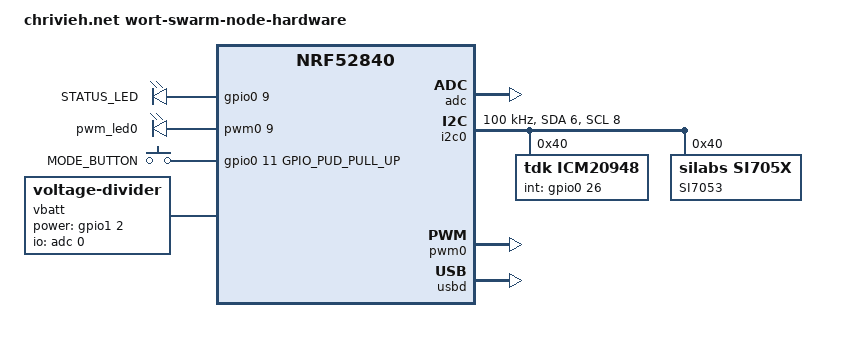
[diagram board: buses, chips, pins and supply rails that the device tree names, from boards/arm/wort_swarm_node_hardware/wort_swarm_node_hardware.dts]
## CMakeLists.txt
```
cmake_minimum_required(VERSION 3.8.2)

set(BOARD_ROOT ${CMAKE_CURRENT_LIST_DIR})
set(BOARD wort_swarm_node_hardware)

include($ENV{ZEPHYR_BASE}/cmake/app/boilerplate.cmake NO_POLICY_SCOPE)
project(peripheral)

add_subdirectory_ifdef(CONFIG_ICM20948 drivers/sensor/icm20948)
add_subdirectory_ifdef(CONFIG_SI705X drivers/sensor/si705x)

target_sources(app PRIVATE
  src/main.c
  
  src/ass.c
  src/bas.c
  src/cts.c
  
  src/node.c
  
  src/battery.c
)

#zephyr_library_include_directories($ENV{ZEPHYR_BASE}/samples/bluetooth)
```

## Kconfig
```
# Copyright (c) 2020 Christian Hirsch
# SPDX-License-Identifier: Apache-2.0

config MEASUREMENTS_SIZE
        int "Number of measurements stored in RAM"
        default 480
        range 0 4094

config SENSE_INTERVAL
        int "Inteval between two measurements in seconds"
        default 60
        range 1 4094

source "Kconfig.zephyr"
rsource "./drivers/sensor/icm20948/Kconfig"
rsource "./drivers/sensor/si705x/Kconfig"
```

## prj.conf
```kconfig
CONFIG_HEAP_MEM_POOL_SIZE=1024

#CONFIG_MEASUREMENTS_SIZE=4032
#CONFIG_SENSE_INTERVAL=900
#CONFIG_SENSE_INTERVAL=60

CONFIG_LOG=n
# POWER SAVING
CONFIG_DEBUG=y
CONFIG_SPEED_OPTIMIZATIONS=y

# GENERAL
CONFIG_REBOOT=y

# DEVICES
CONFIG_ADC=y
CONFIG_GPIO=y
CONFIG_I2C=y

# SENSORS
CONFIG_SENSOR=y
CONFIG_ICM20948=y
CONFIG_ICM20948_I2C_AD0=n
CONFIG_SI705X=y

# BLUETOOTH
CONFIG_BT=y
CONFIG_BT_PERIPHERAL=y
CONFIG_BT_DEVICE_NAME="wort-swarm-node"
CONFIG_BT_CTLR_TX_PWR_PLUS_4=y

## BT PHY CONFIG
##CONFIG_BT_CTLR_PHY_2M=y
#CONFIG_BT_CTLR_PHY_CODED=y
#CONFIG_BT_EXT_ADV=y
#CONFIG_BT_EXT_ADV_LEGACY_SUPPORT=y
## https://github.com/zephyrproject-rtos/zephyr/issues/26200
##CONFIG_BT_LL_NRFXLIB_VS_INCLUDE=y
##CONFIG_BT_LL_NRFXLIB_DEFAULT=y
#CONFIG_BT_LL_NRFXLIB=y
#CONFIG_BT_AUTO_PHY_UPDATE=n
#CONFIG_BT_MAX_CONN=2

# MTU/BUFFER SIZE
CONFIG_BT_RX_BUF_LEN=258
CONFIG_BT_GATT_CLIENT=y
CONFIG_BT_ATT_TX_MAX=10
CONFIG_BT_ATT_PREPARE_COUNT=2
CONFIG_BT_CONN_TX_MAX=10
CONFIG_BT_L2CAP_TX_BUF_COUNT=10
CONFIG_BT_L2CAP_TX_MTU=247
#CONFIG_BT_L2CAP_DYNAMIC_CHANNEL=y
CONFIG_BT_CTLR_RX_BUFFERS=2
CONFIG_BT_CTLR_TX_BUFFERS=10
CONFIG_BT_CTLR_TX_BUFFER_SIZE=251
CONFIG_BT_CTLR_DATA_LENGTH_MAX=251
CONFIG_BT_CTLR_ADVANCED_FEATURES=y
CONFIG_BT_CTLR_XTAL_THRESHOLD=500000
```

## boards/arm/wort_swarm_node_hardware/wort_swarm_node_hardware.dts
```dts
/*
 * Copyright (c) 2017 Linaro Limited
 *
 * SPDX-License-Identifier: Apache-2.0
 */

/dts-v1/;
#include <nordic/nrf52840_qiaa.dtsi>

/ {
	model = "chrivieh.net wort-swarm-node-hardware";
	compatible = "chirsch,wort-swarm-node-hardware";

	chosen {
		zephyr,sram = &sram0;
		zephyr,flash = &flash0;
		zephyr,code-partition = &slot0_partition;
	};

	leds {
		compatible = "gpio-leds";
		led0: led_0 {
		  gpios = <&gpio0 9 0>;
		  label = "STATUS_LED";
	  	};
	};

	pwmleds {
		compatible = "pwm-leds";
		pwm_led0: pwm_led_0 {
			  pwms = <&pwm0 9>;
		};
	};

	gpio_keys {
		compatible = "gpio-keys";
		mode_button: button_0 {
			gpios = <&gpio0 11 GPIO_PUD_PULL_UP>;
			label = "MODE_BUTTON";
		};
	};

	/* These aliases are provided for compatibility with samples */
	aliases {
		led0 = &led0;
		pwm-led0 = &pwm_led0;
	};
	
	vbatt {
		compatible = "voltage-divider";
		io-channels = <&adc 0>;	/* AIN0 P0.02 */
		output-ohms = <1500>;
		full-ohms = <(1500 + 10000)>;
		power-gpios = <&gpio1 2 0>;
	};
};

&adc {
	status = "okay";
};

&gpiote {
	status = "okay";
};

&gpio0 {
	status = "okay";
};

&gpio1 {
	status = "okay";
};

&i2c0 {
        compatible = "nordic,nrf-twi";
        status = "okay";
        sda-pin = <6>;  /* P0.06 */
        scl-pin = <8>;  /* P0.08 */
        clock-frequency = <I2C_BITRATE_STANDARD>;

	    icm20948: icm20948@40 {
			compatible = "tdk,icm20948";
			reg = <0x40>;
			label = "ICM20948";
			int-gpios = <&gpio0 26 0>;	// P0.26
		};
		
		si7053: si7053@40 {
			compatible = "silabs,si705x";
			reg = <0x40>;
			label = "SI7053";
		};
};

&pwm0 {
	status = "okay";
	ch0-pin = <9>;
	ch0-inverted;
};

&flash0 {
	/*
	 * For more information, see:
	 * http://docs.zephyrproject.org/latest/guides/dts/index.html#flash-partitions
	 */
	partitions {
		compatible = "fixed-partitions";
		#address-cells = <1>;
		#size-cells = <1>;

		boot_partition: partition@0 {
			label = "mcuboot";
			reg = <0x000000000 0x0000C000>;
		};
		slot0_partition: partition@c000 {
			label = "image-0";
			reg = <0x0000C000 0x000067000>;
		};
		slot1_partition: partition@73000 {
			label = "image-1";
			reg = <0x00073000 0x000067000>;
		};
		scratch_partition: partition@da000 {
			label = "image-scratch";
			reg = <0x000da000 0x0001e000>;
		};

		/*
		 * The flash starting at 0x000f8000 and ending at
		 * 0x000fffff is reserved for use by the application.
		 */

		/* Storage partition will be used by FCB/NFFS/NVS if enabled. */
		storage_partition: partition@f8000 {
			label = "storage";
			reg = <0x000f8000 0x00008000>;
		};
	};
};

&usbd {
	compatible = "nordic,nrf-usbd";
	status = "okay";
};
```

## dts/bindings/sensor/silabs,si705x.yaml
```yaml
#
# SPDX-License-Identifier: Apache-2.0
#

description: |
    This is a representation of the SI-705X digital temperature sensor
    
compatible: "silabs,si705x"

include: i2c-device.yaml
```

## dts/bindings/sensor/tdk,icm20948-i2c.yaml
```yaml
#
# SPDX-License-Identifier: Apache-2.0
#

description: |
    This is a representation of the ICM-20948 Three Axis High-g I2C/SPI accelerometer
    
compatible: "tdk,icm20948"

include: i2c-device.yaml

properties:
    int-gpios:
      type: phandle-array
      required: false
      description: |
```

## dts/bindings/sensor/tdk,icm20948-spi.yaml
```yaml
#
# SPDX-License-Identifier: Apache-2.0
#

description: |
    This is a representation of the ICM-20948 Three Axis High-g I2C/SPI accelerometer
    
compatible: "tdk,icm20948"

include: spi-device.yaml

properties:
    int-gpios:
      type: phandle-array
      required: false
      description: |
```

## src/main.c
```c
/* main.c - Application main for soil-swarm-node */

#include <zephyr.h>
#include <zephyr/types.h>
#include <logging/log.h>
#include <settings/settings.h>
#include <soc.h>

#include <stddef.h>
#include <string.h>
#include <errno.h>

#include <bluetooth/bluetooth.h>
#include <bluetooth/hci.h>
#include <bluetooth/conn.h>
#include <bluetooth/uuid.h>
#include <bluetooth/gatt.h>

//		BT_LE_ADV_OPT_USE_NAME |     /* adv name */            \

#define BT_LE_ADV_CONN_NAME_ID_CODED BT_LE_ADV_PARAM( \
		BT_LE_ADV_OPT_CONNECTABLE |  /* connectable */         \
		BT_LE_ADV_OPT_USE_IDENTITY | /* use identity */        \
		BT_LE_ADV_OPT_EXT_ADV | /* use extended advertising */ \
		BT_LE_ADV_OPT_CODED,    /* advertise coded phy */      \
		BT_GAP_ADV_SLOW_INT_MIN, \
		BT_GAP_ADV_SLOW_INT_MAX, NULL)

#define BT_LE_ADV_CONN_NAME_ID BT_LE_ADV_PARAM(BT_LE_ADV_OPT_CONNECTABLE | \
		BT_LE_ADV_OPT_USE_NAME | BT_LE_ADV_OPT_USE_IDENTITY, \
		BT_GAP_ADV_SLOW_INT_MIN, \
		BT_GAP_ADV_SLOW_INT_MAX, NULL)

// BT_GAP_ADV_SLOW_INT_MIN = 0x0640 ^= 1s
// BT_GAP_ADV_SLOW_INT_MAX = 0x0780 ^= 1.2s
#define BT_LE_ADV_NCONN_NAME_ID BT_LE_ADV_PARAM(BT_LE_ADV_OPT_USE_NAME | \
		BT_LE_ADV_OPT_USE_IDENTITY, \
		BT_GAP_ADV_SLOW_INT_MIN, \
		BT_GAP_ADV_SLOW_INT_MAX, NULL)

LOG_MODULE_REGISTER(main);

K_THREAD_STACK_DEFINE(disconnect_timeout_stack, 32);
struct k_thread disconnect_timeout_data;
k_tid_t disconnect_timeout_tid;

void disconnect_timeout(void *, void *, void *);

extern volatile struct time_sync remote_ts;

static bool is_client_connected  = false;
struct bt_conn *client_connected = 0;
u32_t time_connected = 0;

u16_t num_connected = 0;

struct bt_le_adv_param *adv_params = BT_LE_ADV_CONN_NAME_ID;

static const struct bt_data ad[] = {
		BT_DATA_BYTES(BT_DATA_FLAGS, BT_LE_AD_NO_BREDR),
		BT_DATA_BYTES(BT_DATA_UUID16_ALL, 0xaa, 0xfe),
		BT_DATA_BYTES(BT_DATA_SVC_DATA16,
				0xaa, 0xfe, /* Eddystone UUID */
				0x10, /* Eddystone-URL frame type */
				0x04, /* Calibrated Tx power at 0m */
				0x00, /* URL Scheme Prefix http://www. */
				//'a','f','a','r','c','l','o','u','d','.','e','u','/')
				'a','f','a','r','c','l','o','u','d','.','a','t','/')
};

void start_advertising() {
	int err = 0, err_cnt = 0;
	do {
		err = bt_le_adv_start(adv_params, ad, ARRAY_SIZE(ad), NULL, 0);
		if(err == 0 || err_cnt > 3)
			break;
		err_cnt++;
		k_sleep(K_MSEC(15));
	} while(err);

	if (err) {
		LOG_ERR("Advertising failed to start (err %d)", err);
		return;
	}
	LOG_INF("Advertising successfully started");
}

static void connected(struct bt_conn *conn, u8_t err)
{
	if (err) {
		LOG_INF("Connection failed (err %u)\n", err);
		return;
	}

	client_connected = conn;
	is_client_connected = true;

	disconnect_timeout_tid = k_thread_create(&disconnect_timeout_data,
			disconnect_timeout_stack,
			K_THREAD_STACK_SIZEOF(disconnect_timeout_stack),
			disconnect_timeout,
			NULL, NULL, NULL, 1, 0, K_MINUTES(5));
	num_connected++;

	LOG_INF("Connected (%u times)", num_connected);
}

static void bt_ready(int err)
{
	if (err) {
		LOG_ERR("Bluetooth init failed (err %d)", err);
		return;
	}
	LOG_INF("Bluetooth initialized");

	if (IS_ENABLED(CONFIG_SETTINGS)) {
		settings_load();
	}

	start_advertising();
}

static void disconnected(struct bt_conn *conn, u8_t reason)
{
	LOG_INF("Disconnected (reason %u)\n", reason);
	is_client_connected = false;

	if (disconnect_timeout_tid)
	{
		k_wakeup(disconnect_timeout_tid);
	}
}

static struct bt_conn_cb conn_callbacks = {
	.connected = connected,
	.disconnected = disconnected,
};

void disconnect_timeout(void *v1, void *v2, void *v3)
{
	/* if connection is still up after 15min, (auto-)disconnect */
	if (is_client_connected == true)
	{
		bt_conn_disconnect(client_connected, BT_HCI_ERR_REMOTE_USER_TERM_CONN);
	}

	disconnect_timeout_tid = 0;
}

void main(void)
{
	int err = 0;

	err = bt_enable(bt_ready);
	if (err != 0) {
		LOG_ERR("Bluetooth init failed (err %d)", err);
		return;
	}
	bt_conn_cb_register(&conn_callbacks);

	while (1) {
		k_sleep(K_FOREVER);
	}
}
```

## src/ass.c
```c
#include "ass.h"

#include "uuid.h"
#include "node.h"

#include <logging/log.h>

#include <bluetooth/gatt.h>
#include <bluetooth/conn.h>

static u8_t *data_buf = NULL;

static u8_t indicate_enabled = 0;
static u16_t mtu_size = 0;

static size_t buffer_size = 0;
static size_t mtu_buffer_size = 0;

struct bt_gatt_indicate_params i_params;

extern struct bt_conn *client_connected;

LOG_MODULE_REGISTER(ASS);

static void sync_ccc_cfg_changed(const struct bt_gatt_attr *attr,
			u16_t value);
static void ass_indicate(void);

/* ASS Declaration */
BT_GATT_SERVICE_DEFINE(ass_svc,
	BT_GATT_PRIMARY_SERVICE(BT_UUID_ASS),

	BT_GATT_CHARACTERISTIC(BT_UUID_ASS_GSC,
			       BT_GATT_CHRC_READ | BT_GATT_CHRC_INDICATE,
			       BT_GATT_PERM_READ, NULL, NULL, NULL),

	BT_GATT_CCC(sync_ccc_cfg_changed, BT_GATT_PERM_READ | BT_GATT_PERM_WRITE),

	BT_GATT_DESCRIPTOR(BT_UUID_ASS_TID, BT_GATT_PERM_NONE, NULL, NULL, 0),
	BT_GATT_DESCRIPTOR(BT_UUID_ASS_BVD, BT_GATT_PERM_NONE, NULL, NULL, 0),
	BT_GATT_DESCRIPTOR(BT_UUID_ASS_ATD, BT_GATT_PERM_NONE, NULL, NULL, 0),
	BT_GATT_DESCRIPTOR(BT_UUID_ASS_ACX, BT_GATT_PERM_NONE, NULL, NULL, 0),
	BT_GATT_DESCRIPTOR(BT_UUID_ASS_ACY, BT_GATT_PERM_NONE, NULL, NULL, 0),
	BT_GATT_DESCRIPTOR(BT_UUID_ASS_ACZ, BT_GATT_PERM_NONE, NULL, NULL, 0),
);

static void indicate_cb(struct bt_conn *conn, const struct bt_gatt_attr *attr,
			u8_t err)
{
	LOG_INF("Indication %s\n", err != 0U ? "fail" : "success");
	node_buf_get_finish(mtu_buffer_size);
	ass_indicate();
}

static void sync_ccc_cfg_changed(const struct bt_gatt_attr *attr,
				 u16_t value)
{
	indicate_enabled = (value == BT_GATT_CCC_INDICATE) ? 1 : 0;

	LOG_INF("sync_ccc_cfg_changed to %u", value);

	if (indicate_enabled)
	{
		mtu_size = bt_gatt_get_mtu(client_connected);
		LOG_INF("mtu size = %u", mtu_size);

		data_buf = (u8_t *)k_malloc(mtu_size);

		if(data_buf == 0)
		{
			LOG_ERR("error allocating %u bytes of memory", mtu_size);
			return;
		}

		i_params.attr = &ass_svc.attrs[2];
		i_params.data = data_buf;
		i_params.func = indicate_cb;

		buffer_size = node_buf_get_elem_size();
		mtu_buffer_size = (mtu_size - 1) / buffer_size;

		ass_indicate();
	}
	else {
		k_free(data_buf);
		data_buf = 0;
	}
}

static void ass_indicate(void)
{
	if(!indicate_enabled)
		return;

	LOG_INF("send indication");

	data_buf[0] = (u8_t) node_buf_cpy_data((void *)&data_buf[1],
			mtu_buffer_size);

	i_params.len  = sizeof(data_buf[0]) + data_buf[0] * buffer_size;
	if (data_buf[0] == 0) {
		i_params.func = NULL;
	}

	int err = bt_gatt_indicate(NULL, &i_params);
	if (err != 0) {
		LOG_ERR("error sending indication: %i", err);
	}
}
```

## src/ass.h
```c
#ifndef ASS_H_
#define ASS_H_

#ifdef __cplusplus
extern "C" {
#endif

#ifdef __cplusplus
}
#endif

#endif /* ASS_H_ */
```

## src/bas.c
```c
/** @file
 *  @brief BAS Service sample
 */

#include <zephyr.h>

#include <stddef.h>
#include <string.h>
#include <errno.h>

#include <bluetooth/bluetooth.h>
#include <bluetooth/hci.h>
#include <bluetooth/conn.h>
#include <bluetooth/uuid.h>
#include <bluetooth/gatt.h>

#include "battery.h"

uint8_t   bas_notify_enabled;
static uint16_t battery_lvl;

static void blvl_ccc_cfg_changed(const struct bt_gatt_attr *attr,
				 uint16_t value)
{
	bas_notify_enabled = (value == BT_GATT_CCC_NOTIFY) ? 1 : 0;
}

static ssize_t read_blvl(struct bt_conn *conn, const struct bt_gatt_attr *attr,
			 void *buf, uint16_t len, uint16_t offset)
{
	uint16_t value_pptt = battery_level_pptt(battery_sample());
	uint8_t value = (uint8_t)(value_pptt / 100);

	return bt_gatt_attr_read(conn, attr, buf, len, offset, &value,
			sizeof(value));
}

/* Battery Service Declaration */
BT_GATT_SERVICE_DEFINE(bas_svc,
	BT_GATT_PRIMARY_SERVICE(BT_UUID_BAS),
	BT_GATT_CHARACTERISTIC(BT_UUID_BAS_BATTERY_LEVEL,
			       BT_GATT_CHRC_READ | BT_GATT_CHRC_NOTIFY,
			       BT_GATT_PERM_READ, read_blvl, NULL, &battery_lvl),
	BT_GATT_CCC(blvl_ccc_cfg_changed, BT_GATT_PERM_READ | BT_GATT_PERM_WRITE),
);

void bas_init(void)
{
	//bt_gatt_service_register(&bas_svc);
}

int bas_notify(uint16_t _battery_lvl)
{
	battery_lvl = _battery_lvl;

	if (!bas_notify_enabled) {
		return 0;
	}

	return bt_gatt_notify(NULL, &bas_svc.attrs[1], &battery_lvl, sizeof(uint16_t));
}
```

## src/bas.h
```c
/** @file
 *  @brief BAS Service sample
 */

#include <stddef.h>

#ifdef __cplusplus
extern "C" {
#endif

void bas_init(void);
int  bas_notify(uint16_t _battery_lvl);

#ifdef __cplusplus
}
#endif
```

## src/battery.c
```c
#include "battery.h"

#include <stdio.h>
#include <stdlib.h>

#include <zephyr.h>
#include <init.h>
#include <drivers/gpio.h>
#include <drivers/adc.h>
#include <drivers/sensor.h>
#include <logging/log.h>

#define VBATT DT_PATH(vbatt)

#define BATT_CHRG_EN_PORT	DT_GPIO_LABEL(VBATT, power_gpios)
#define BATT_CHRG_EN_PIN	DT_GPIO_PIN(VBATT, power_gpios)

LOG_MODULE_REGISTER(BATTERY, CONFIG_ADC_LOG_LEVEL);

#define VBATT DT_PATH(vbatt)

static struct device *chrg_en_port;
static u8_t chrg_enabled;

/* This board uses a divider that reduces max voltage to
 * reference voltage (600 mV).
 */
#define BATTERY_ADC_GAIN ADC_GAIN_1

struct io_channel_config {
	const char *label;
	u8_t channel;
};

struct gpio_channel_config {
	const char *label;
	u8_t pin;
	u8_t flags;
};

struct divider_config {
	const struct io_channel_config io_channel;
	const struct gpio_channel_config power_gpios;
	const u32_t output_ohm;
	const u32_t full_ohm;
};

/* https://blog.ampow.com/lipo-voltage-chart/
 */
static const struct battery_level_point lipo_37[] = {
	{ 10000, 4200 },
	{  9500, 4150 },
	{  9000, 4110 },
	{  8500, 4080 },
	{  8000, 4020 },
	{  7500, 3980 },
	{  7000, 3950 },
	{  6500, 3910 },
	{  6000, 3870 },
	{  5500, 3850 },
	{  5000, 3840 },
	{  4500, 3820 },
	{  4000, 3800 },
	{  3500, 3790 },
	{  3000, 3770 },
	{  2500, 3750 },
	{  2000, 3730 },
	{  1500, 3710 },
	{  1000, 3690 },
	{   500, 3610 },
	{     0, 3270 },
};

static const struct divider_config divider_config = {
#if DT_NODE_HAS_STATUS(VBATT, okay)
	.io_channel = {
		DT_IO_CHANNELS_LABEL(VBATT),
		DT_IO_CHANNELS_INPUT(VBATT),
	},
#if DT_NODE_HAS_PROP(VBATT, power_gpios)
	.power_gpios = {
		DT_GPIO_LABEL(VBATT, power_gpios),
		DT_GPIO_PIN(VBATT, power_gpios),
		DT_GPIO_FLAGS(VBATT, power_gpios),
	},
#endif
	.output_ohm = DT_PROP(VBATT, output_ohms),
	.full_ohm = DT_PROP(VBATT, full_ohms),
#else /* /vbatt exists */
	.io_channel = {
		DT_LABEL(DT_ALIAS(adc_0)),
	},
#endif /* /vbatt exists */
	/*  * /
	.io_channel = DT_VOLTAGE_DIVIDER_VBATT_IO_CHANNELS,
#ifdef DT_VOLTAGE_DIVIDER_VBATT_POWER_GPIOS
	.power_gpios = DT_VOLTAGE_DIVIDER_VBATT_POWER_GPIOS,
#endif
	.output_ohm = DT_VOLTAGE_DIVIDER_VBATT_OUTPUT_OHMS,
	.full_ohm = DT_VOLTAGE_DIVIDER_VBATT_FULL_OHMS,
	*/
};

struct divider_data {
	struct device *adc;
	struct device *gpio;
	struct adc_channel_cfg adc_cfg;
	struct adc_sequence adc_seq;
	s16_t raw;
};
static struct divider_data divider_data;

static int divider_setup(void)
{
	const struct divider_config *cfg = &divider_config;
	const struct io_channel_config *iocp = &cfg->io_channel;
	const struct gpio_channel_config *gcp = &cfg->power_gpios;
	struct divider_data *ddp = &divider_data;
	struct adc_sequence *asp = &ddp->adc_seq;
	struct adc_channel_cfg *accp = &ddp->adc_cfg;
	int rc;

	ddp->adc = device_get_binding(iocp->label);
	if (ddp->adc == NULL) {
		LOG_ERR("Failed to get ADC %s", iocp->label);
		return -ENOENT;
	}

	if (gcp->label) {
		ddp->gpio = device_get_binding(gcp->label);
		if (ddp->gpio == NULL) {
			LOG_ERR("Failed to get GPIO %s", gcp->label);
			return -ENOENT;
		}
		rc = gpio_pin_configure(ddp->gpio, gcp->pin,
					GPIO_OUTPUT_INACTIVE | gcp->flags);
		if (rc != 0) {
			LOG_ERR("Failed to control feed %s.%u: %d",
				gcp->label, gcp->pin, rc);
			return rc;
		}
	}

	*asp = (struct adc_sequence){
		.channels = BIT(0),
		.buffer = &ddp->raw,
		.buffer_size = sizeof(ddp->raw),
		.oversampling = 4,
		.calibrate = true,
	};

#ifdef CONFIG_ADC_NRFX_SAADC
	*accp = (struct adc_channel_cfg){
		.gain = BATTERY_ADC_GAIN,
		.reference = ADC_REF_INTERNAL,
		.acquisition_time = ADC_ACQ_TIME(ADC_ACQ_TIME_MICROSECONDS, 40),
		.input_positive = SAADC_CH_PSELP_PSELP_AnalogInput0 + iocp->channel,
	};

	asp->resolution = 14;
#else /* CONFIG_ADC_var */
#error Unsupported ADC
#endif /* CONFIG_ADC_var */

	rc = adc_channel_setup(ddp->adc, accp);
	LOG_INF("Setup AIN%u got %d", iocp->channel, rc);

	return rc;
}

static bool battery_ok;

static int battery_setup(struct device *arg)
{
	int rc = divider_setup();

	battery_ok = (rc == 0);
	LOG_INF("Battery setup: %d %d", rc, battery_ok);

	/* LDO out */
	chrg_en_port = device_get_binding(BATT_CHRG_EN_PORT);
	if (!chrg_en_port) {
		LOG_ERR("Failed to initialize battery charge enable port");
		return -ENODEV;
	}

	battery_charge_enable();

	return rc;
}

SYS_INIT(battery_setup, APPLICATION, CONFIG_APPLICATION_INIT_PRIORITY);

int battery_measure_enable(bool enable)
{
	int rc = -ENOENT;

	if (battery_ok) {
		const struct divider_data *ddp = &divider_data;
		const struct gpio_channel_config *gcp = &divider_config.power_gpios;

		rc = 0;
		if (ddp->gpio) {
			rc = gpio_pin_set(ddp->gpio, gcp->pin, enable);
		}
	}
	return rc;
}

s16_t battery_sample(void)
{
	battery_measure_enable(true);

	int rc = -ENOENT;

	if (battery_ok) {
		struct divider_data *ddp = &divider_data;
		const struct divider_config *dcp = &divider_config;
		struct adc_sequence *sp = &ddp->adc_seq;

		rc = adc_read(ddp->adc, sp);
		sp->calibrate = false;
		if (rc == 0) {
			s32_t val = ddp->raw;

			adc_raw_to_millivolts(adc_ref_internal(ddp->adc),
					      ddp->adc_cfg.gain,
					      sp->resolution,
					      &val);
			rc = val * (u64_t)dcp->full_ohm / dcp->output_ohm;
			LOG_DBG("raw %u ~ %u mV => %d mV\n",
				ddp->raw, val, rc);
		}
	}

	battery_measure_enable(false);

	return rc;
}

u16_t battery_level_pptt(unsigned int batt_mV)
{
	const struct battery_level_point *pb = lipo_37;

	if (batt_mV >= pb->lvl_mV) {
		/* Measured voltage above highest point, cap at maximum. */
		return pb->lvl_pptt;
	}
	/* Go down to the last point at or below the measured voltage. */
	while ((pb->lvl_pptt > 0)
	       && (batt_mV < pb->lvl_mV)) {
		++pb;
	}
	if (batt_mV < pb->lvl_mV) {
		/* Below lowest point, cap at minimum */
		return pb->lvl_pptt;
	}

	/* Linear interpolation between below and above points. */
	const struct battery_level_point *pa = pb - 1;

	return pb->lvl_pptt
	       + ((pa->lvl_pptt - pb->lvl_pptt)
		  * (batt_mV - pb->lvl_mV)
		  / (pa->lvl_mV - pb->lvl_mV));
}

void battery_charge_enable(void)
{
	gpio_pin_configure(chrg_en_port, BATT_CHRG_EN_PIN, GPIO_INPUT);
	chrg_enabled = 1;

}

void battery_charge_disable(void)
{
	gpio_pin_configure(chrg_en_port, BATT_CHRG_EN_PIN, GPIO_OUTPUT);
	gpio_pin_set(chrg_en_port, BATT_CHRG_EN_PIN, 0);
	chrg_enabled = 0;
}

u8_t battery_charge_is_enabled(void)
{
	return chrg_enabled;
}
```

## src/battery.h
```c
#include <zephyr.h>

/*
 * Copyright (c) 2018-2019 Peter Bigot Consulting, LLC
 *
 * SPDX-License-Identifier: Apache-2.0
 */

#ifndef APPLICATION_BATTERY_H_
#define APPLICATION_BATTERY_H_

/** Enable or disable measurement of the battery voltage.
 *
 * @param enable true to enable, false to disable
 *
 * @return zero on success, or a negative error code.
 */
int battery_measure_enable(bool enable);

/** Measure the battery voltage.
 *
 * @return the battery voltage in millivolts, or a negative error
 * code.
 */
s16_t battery_sample(void);

/** A point in a battery discharge curve sequence.
 *
 * A discharge curve is defined as a sequence of these points, where
 * the first point has #lvl_pptt set to 10000 and the last point has
 * #lvl_pptt set to zero.  Both #lvl_pptt and #lvl_mV should be
 * monotonic decreasing within the sequence.
 */
struct battery_level_point {
	/** Remaining life at #lvl_mV. */
	u16_t lvl_pptt;

	/** Battery voltage at #lvl_pptt remaining life. */
	u16_t lvl_mV;
};

/** Calculate the estimated battery level based on a measured voltage.
 *
 * @param batt_mV a measured battery voltage level.
 *
 * @param curve the discharge curve for the type of battery installed
 * on the system.
 *
 * @return the estimated remaining capacity in parts per ten
 * thousand.
 */
u16_t battery_level_pptt(unsigned int batt_mV);

void battery_charge_enable(void);
void battery_charge_disable(void);
u8_t battery_charge_is_enabled(void);

#endif /* APPLICATION_BATTERY_H_ */
```

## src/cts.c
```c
#include <zephyr.h>
#include <zephyr/types.h>
#include <stddef.h>
#include <string.h>
#include <time.h>
#include <errno.h>

#include <sys/byteorder.h>

#include <bluetooth/bluetooth.h>
#include <bluetooth/hci.h>
#include <bluetooth/conn.h>
#include <bluetooth/uuid.h>
#include <bluetooth/gatt.h>

#include "cts.h"
#include "node.h"

#include <drivers/counter.h>

static  u8_t cts_exact_time_256[10];
static  u8_t cts_update;

s64_t cts_uptime_synced_ms = 0;
u32_t cts_uptime_synced_s  = 0;
u32_t cts_ref_unix_sec     = 0;

static u8_t counting = 0;

static ssize_t read_cts(struct bt_conn *conn, const struct bt_gatt_attr *attr,
		void *buf, u16_t len, u16_t offset);
static ssize_t write_cts(struct bt_conn *conn, const struct bt_gatt_attr *attr,
		const void *buf, u16_t len, u16_t offset,
		u8_t flags);

/* Battery Service Declaration */
BT_GATT_SERVICE_DEFINE(cts_svc,
		BT_GATT_PRIMARY_SERVICE(BT_UUID_CTS),
		BT_GATT_CHARACTERISTIC(BT_UUID_CTS_CURRENT_TIME,
				BT_GATT_CHRC_READ | BT_GATT_CHRC_WRITE,
				BT_GATT_PERM_READ | BT_GATT_PERM_WRITE,
				read_cts, write_cts, cts_exact_time_256),
				BT_GATT_CCC(NULL, BT_GATT_PERM_NONE),
);

/* no leap seconds! */
static u32_t exact_time_256_to_unix_sec(u8_t *ct)
{
	u32_t year = (u32_t)sys_le16_to_cpu(*(u16_t *)ct);

	u32_t time_sec = (year - 1) / 4;
	time_sec   = (time_sec - 492) * 24 * 60 * 60;		// leap year days
	time_sec  += (year - 1970) * 365 * 24 * 60 * 60;	//without leap year

	for(u8_t i=1; i<ct[2]; i++)
	{
		switch(i) {
		case 2:
			time_sec += 28 * 24 * 60 * 60;
			if(year % 4 == 0)
			{
				time_sec += 24 * 60 * 60;
			}
			break;
		case 4:
		case 6:
		case 9:
		case 11:
			time_sec += 30 * 24 * 60 * 60;
			break;
		default:
			time_sec += 31 * 24 * 60 * 60;
			break;
		}
	}

	time_sec += (ct[3]-1) * 24 * 60 * 60;	// day of month
	time_sec += (ct[4]) * 60 * 60;			// hours
	time_sec += (ct[5]) * 60;				// minutes
	time_sec += (ct[6]);					// seconds

	return time_sec;
}

static void unix_sec_to_exact_time_256(u32_t unix_sec, u8_t *et256)
{
	u32_t tmp = 0;

	/* seconds */
	et256[6] =  unix_sec % 60;

	/* minutes */
	et256[5] = (unix_sec / 60) % 60;

	/* hours */
	et256[4] = (unix_sec / 3600) % 24;

	/* year */
	tmp  = (unix_sec / 3600 / 24) * 100;
	tmp /= 36525;
	tmp += 1970;
	memcpy(&et256[0], &tmp, sizeof(tmp));

	/* day of month */
	tmp  = (u32_t) *(u16_t *)et256 - 1970;
	tmp *= 36525;
	tmp += 50;
	tmp /= 100;
	tmp  = (unix_sec / 3600 / 24) - tmp + 1;

	for(et256[2] = 1; et256[2] < 13 ; et256[2]++)
	{
		u8_t days;
		switch(et256[2])
		{
		case 2:
			days = 28;
			break;
		case 4:
		case 6:
		case 9:
		case 11:
			days = 30;
			break;
		default:
			days = 31;
			break;
		}
		if (tmp < days)
			break;
		tmp -= days;
	}

	et256[3] = (u8_t) tmp;
	if (et256[2] < 3 && (*(u16_t *)et256 - 1970) % 4 == 2) {
		et256[3]++;
	}
}

static ssize_t read_cts(struct bt_conn *conn, const struct bt_gatt_attr *attr,
		void *buf, u16_t len, u16_t offset)
{
	u8_t et256[10] = { 0 };

	s64_t now  = (k_uptime_get() - cts_uptime_synced_ms) / 1000;

	u32_t now32 = (u32_t) now;
	now32 += cts_ref_unix_sec;

	unix_sec_to_exact_time_256(now32, et256);

	int err = bt_gatt_attr_read(conn, attr, buf, len, offset, et256,
			sizeof(et256));

	return err;
}

static ssize_t write_cts(struct bt_conn *conn, const struct bt_gatt_attr *attr,
		const void *buf, u16_t len, u16_t offset,
		u8_t flags)
{
	s64_t now = k_uptime_get();

	u8_t *value = attr->user_data;

	if (offset + len > sizeof(cts_exact_time_256)) {
		return BT_GATT_ERR(BT_ATT_ERR_INVALID_OFFSET);
	}

	memcpy(value + offset, buf, len);

	cts_update = 1U;
	cts_uptime_synced_ms = now;
	now /= 1000;
	cts_uptime_synced_s = (u32_t) now;
	cts_ref_unix_sec = exact_time_256_to_unix_sec(cts_exact_time_256);

	if (counting == 1) {
		// clock stretching?!

	}

	now  = cts_ref_unix_sec % CONFIG_SENSE_INTERVAL;
	now  = 1000 * now + (cts_uptime_synced_ms % 1000);

	node_start_sensing((CONFIG_SENSE_INTERVAL*1000) - now);
	counting = 1;

	return len;
}
```

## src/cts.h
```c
#ifndef CTS_H_
#define CTS_H_

#ifdef __cplusplus
extern "C" {
#endif

void cts_init(void);
int  cts_notify(u32_t _timestamp);

#ifdef __cplusplus
}
#endif

#endif /* CTS_H_ */
```

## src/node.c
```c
#include "node.h"

#include <zephyr.h>
#include <init.h>
#include <logging/log.h>
#include <device.h>

#include <kernel.h>

#include <drivers/sensor.h>

#include "battery.h"

#define SENSE_INTERVAL CONFIG_SENSE_INTERVAL
#define MEASUREMENTS_SIZE CONFIG_MEASUREMENTS_SIZE

struct measurement measurements[MEASUREMENTS_SIZE];

s16_t buf_start = 0;
s16_t buf_end   = 0;
u32_t sense_interval_mult = 1;

extern u32_t cts_uptime_synced_s;
extern u32_t cts_ref_unix_sec;

K_SEM_DEFINE(measurements_sem, 1, 1);
K_SEM_DEFINE(loop_guard, 1, 1);

static void node_loop(struct k_timer *timer);

K_THREAD_STACK_DEFINE(node_loop_worker_stack_area, 1024);
struct k_thread node_loop_worker_data;
k_tid_t node_loop_worker_tid;

static void node_loop_worker(void *, void *, void *);

LOG_MODULE_REGISTER(NODE);

K_TIMER_DEFINE(loop_timer, node_loop, NULL);

static int node_initialize(struct device *arg)
{
#ifdef CONFIG_DEBUG
	k_timer_start(&loop_timer, K_SECONDS(SENSE_INTERVAL), K_SECONDS(SENSE_INTERVAL));
#endif

	return 0;
}

void node_start_sensing(s32_t delay)
{
	k_timer_start(&loop_timer, K_MSEC(delay), K_SECONDS(SENSE_INTERVAL));
}

static void node_loop(struct k_timer *timer)
{
	if (k_sem_take(&loop_guard, K_NO_WAIT) != 0)
		return;

	node_loop_worker_tid = k_thread_create(&node_loop_worker_data, node_loop_worker_stack_area,
			K_THREAD_STACK_SIZEOF(node_loop_worker_stack_area),
			node_loop_worker,
			NULL, NULL, NULL,
			5, 0, K_NO_WAIT);
}

static void node_loop_worker(void *p1, void *p2, void *p3)
{
	static u8_t buf_full = 0;

	LOG_INF("enter loop %x %x", buf_start, buf_end);

	struct device *icm20948;
	struct sensor_value acc_sample[3], gyro_sample[3], mag_sample[3];

	struct device *si705x;
	struct sensor_value temp_sample;

	/* measure battery */
	s16_t batt_mV = battery_sample();
	if (batt_mV < 3700) {
		battery_charge_enable();
	} else if (batt_mV > 4000) {
		battery_charge_disable();
	}

	/* measure temperature */
	si705x = device_get_binding(DT_LABEL(DT_INST(0, silabs_si705x)));
	sensor_sample_fetch_chan(si705x, SENSOR_CHAN_AMBIENT_TEMP);
	sensor_channel_get(si705x, SENSOR_CHAN_AMBIENT_TEMP, &temp_sample);

	/* measure acceleration */
	icm20948 = device_get_binding(DT_LABEL(DT_INST(0, tdk_icm20948)));
	sensor_sample_fetch_chan(icm20948, SENSOR_CHAN_ACCEL_XYZ);
	//sensor_channel_get(icm20948, SENSOR_CHAN_ACCEL_XYZ, acc_sample);
	//sensor_channel_get(icm20948, SENSOR_CHAN_GYRO_XYZ, gyro_sample);

	s64_t ts = k_uptime_get();
	ts /= 1000;

	/* save to buffer */

	if (buf_full) {
		k_sem_take(&measurements_sem, K_FOREVER);
		for (s16_t i = 0; i < MEASUREMENTS_SIZE / 2; i++) {
			s16_t buf_dst = (buf_start + i) % MEASUREMENTS_SIZE;
			s16_t buf_src = (buf_start + i * 2) % MEASUREMENTS_SIZE;
			measurements[buf_dst].timestamp   = measurements[buf_src].timestamp;
			measurements[buf_dst].battery     = measurements[buf_src].battery;
			measurements[buf_dst].temperature = measurements[buf_src].temperature;

			measurements[buf_dst].acc[0] = measurements[buf_src].acc[0];
			measurements[buf_dst].acc[1] = measurements[buf_src].acc[1];
			measurements[buf_dst].acc[2] = measurements[buf_src].acc[2];
		}
		buf_end = (buf_start + MEASUREMENTS_SIZE / 2 + 1) % MEASUREMENTS_SIZE;
		k_sem_give(&measurements_sem);
		sense_interval_mult *= 2;
		buf_full = 0;
	}

	k_sem_take(&measurements_sem, K_FOREVER);
	measurements[buf_end].timestamp		= (u32_t)ts;
	measurements[buf_end].battery		= (u16_t) batt_mV / 10;
	measurements[buf_end].temperature	= (u16_t)(temp_sample.val1 * 100) + (u16_t)(temp_sample.val2 / 10000);
	measurements[buf_end].acc[0]		= (s16_t) 0; //(acc_sample[0].val1 * 100) + (s16_t)(acc_sample[0].val2 / 10000);
	measurements[buf_end].acc[1]		= (s16_t) 1; //(acc_sample[1].val1 * 100) + (s16_t)(acc_sample[1].val2 / 10000);
	measurements[buf_end].acc[2]		= (s16_t) 2; //(acc_sample[2].val1 * 100) + (s16_t)(acc_sample[2].val2 / 10000);

	LOG_INF("Timestamp:   %u", measurements[buf_end].timestamp);
	LOG_INF("Battery:     %3u.%02u V", measurements[buf_end].battery / 100,
			measurements[buf_end].battery % 100);
	LOG_INF("Temperature: %3u.%02u V", measurements[buf_end].temperature / 100,
				measurements[buf_end].temperature % 100);
	LOG_INF("Acceleration X: %3i.%02u Gauss", measurements[buf_end].acc[0] / 100,
			measurements[buf_end].acc[0] % 100);

	buf_end = (buf_end + 1) % MEASUREMENTS_SIZE;
	k_sem_give(&measurements_sem);

	buf_full = (buf_end == buf_start);

	k_sem_give(&loop_guard);
}

size_t node_buf_get_elem_size(void)
{
	struct measurement *meas = measurements;
	return sizeof(meas->timestamp)
			+ sizeof(meas->battery)
			+ sizeof(meas->temperature)
			+ sizeof(meas->acc);
}

size_t node_buf_cpy_data(void *dst, size_t cnt)
{
	size_t i;
	u8_t *bdst = (u8_t *)dst;

	struct measurement *meas;

	k_sem_take(&measurements_sem, K_FOREVER);
	for (i = 0; i < cnt; i++)
	{
		if (((buf_start + i) % MEASUREMENTS_SIZE) == buf_end)
			break;

		meas = &measurements[buf_start + i];

		u32_t timestamp = meas->timestamp
				- cts_uptime_synced_s
				+ cts_ref_unix_sec;

		memcpy(bdst, &timestamp, sizeof(timestamp));
		bdst = bdst + sizeof(meas->timestamp);

		memcpy(bdst, &meas->battery, sizeof(meas->battery));
		bdst = bdst + sizeof(meas->battery);

		memcpy(bdst, &meas->temperature, sizeof(meas->temperature));
		bdst = bdst + sizeof(meas->temperature);

		memcpy(bdst, meas->acc, sizeof(meas->acc));
		bdst = bdst + sizeof(meas->acc);
	}
	k_sem_give(&measurements_sem);

	return i;
}

u8_t node_buf_get_finish(size_t cnt)
{
	for(size_t i = 0; i < cnt; i++)
	{
		buf_start = (buf_start + 1) % MEASUREMENTS_SIZE;
		if (buf_start == buf_end)
			return 0;
	}

	LOG_INF("buf_start = %u", buf_start);

	return 1;
}

SYS_INIT(node_initialize, APPLICATION, CONFIG_APPLICATION_INIT_PRIORITY);
```

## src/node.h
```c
#ifndef NODE_H_
#define NODE_H_

#include <zephyr/types.h>
#include <stddef.h>

#ifdef __cplusplus
extern "C" {
#endif

struct measurement {
	u32_t timestamp;
	u16_t battery;
	s16_t temperature;
	s16_t acc[3];
	s16_t gyro[3];
	s16_t mag[3];
};

void node_start_sensing(s32_t delay);

size_t node_buf_get_elem_size(void);
size_t node_buf_cpy_data(void *dst, size_t cnt);
u8_t   node_buf_get_finish(size_t cnt);

#ifdef __cplusplus
}
#endif

#endif /* NODE_H_ */
```

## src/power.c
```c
/*
 * Copyright (c) 2018 Intel Corporation.
 *
 * SPDX-License-Identifier: Apache-2.0
 */

#include "test.h"

/* In Tickless Kernel mode, time is passed in milliseconds instead of ticks */
#define TICKS_TO_SECONDS_MULTIPLIER 1000
#define TIME_UNIT_STRING "milliseconds"

#define MIN_TIME_TO_SUSPEND	((SECONDS_TO_SLEEP * \
				  TICKS_TO_SECONDS_MULTIPLIER) - \
				  (TICKS_TO_SECONDS_MULTIPLIER / 2))

#ifdef CONFIG_TICKLESS_KERNEL
#define SECS_TO_TICKS		1000
#else
#define SECS_TO_TICKS		100
#endif

#define LPS_MAX_THR		(60 * SECS_TO_TICKS)
#define LPS_1_MAX_THR		(120 * SECS_TO_TICKS)

/* Suspend Devices based on Ordered List */
void suspend_devices(void);
/* Resume Devices */
void resume_devices(void);

static int post_ops_done = 1;
static int pm_state;

/* This Function decides which Low Power Mode to Enter based on Idleness.
 * In actual Application this decision can be made using time (ticks)
 * And RTC timer can be programmed to wake the device after time elapsed.
 */
static int pm_policy_get_state(int32_t ticks)
{
	/*
	 * Power Management Policy:
	 * 0 - 60 Sec:  Enter Constant Latency Mode
	 * 61 - 120 Sec: Enter Low Power state
	 * 121 and above : Enter Deep Sleep state
	 * /
	if ((ticks != K_FOREVER) && ticks <= LPS_MAX_THR) {
		return SYS_POWER_STATE_CPU_LPS;
	} else if ((ticks > LPS_MAX_THR) &&
			(ticks <= LPS_1_MAX_THR)) {
		return SYS_POWER_STATE_CPU_LPS_1;
	} else {
		return SYS_POWER_STATE_DEEP_SLEEP;
	}
	*/
	return 0;
}

static void low_power_state_exit(void)
{
	/* Perform some Application specific task on Low Power Mode Exit */

	/* Turn on suspended peripherals/clocks as necessary */
	//printk("-- Low Power State exit !\n");
}

static int low_power_state_entry(void)
{
	//if (pm_state == SYS_POWER_STATE_CPU_LPS) {
	//	printk("--> Entering into Constant Latency State -");
	//} else {
	//	printk("--> Entering into Low Power State -");
	//}
	//sys_set_power_state(pm_state);
	//return SYS_PM_LOW_POWER_STATE;
}

static void low_power_suspend_exit(void)
{
	/* Turn on peripherals and restore device states as necessary */
	//resume_devices();
	//printk("-- Low Power Suspend State exit!\n");
}

static int low_power_suspend_entry(void)
{
	//printk("--> Entering into Deep Sleep State -");
	///* Don't need pm idle exit event notification */
	//sys_pm_idle_exit_notification_disable();
	///* Save device states and turn off peripherals as necessary */
	//suspend_devices();
	//sys_set_power_state(SYS_POWER_STATE_DEEP_SLEEP);
	// /* Exiting from Deep Sleep State */
	//low_power_suspend_exit();

	//return SYS_PM_DEEP_SLEEP;
}

/* Function name : sys_suspend
 * Return Value : Power Mode Entered Success/Failure
 * Input : Idleness in number of Ticks
 *
 * Description: All request from Idle thread to Enter into
 * Low Power Mode or Deep Sleep State land in this function
 */
int sys_suspend(int32_t ticks)
{
	int ret = SYS_PM_NOT_HANDLED;

	post_ops_done = 0;

	if ((ticks != K_FOREVER) && (ticks < MIN_TIME_TO_SUSPEND)) {
		//printk("Not enough time for PM operations " TIME_UNIT_STRING
		//					" : %d).\n", ticks);
		return SYS_PM_NOT_HANDLED;
	}

	pm_state = pm_policy_get_state(ticks);

	switch (pm_state) {
	case SYS_POWER_STATE_CPU_LPS:
	case SYS_POWER_STATE_CPU_LPS_1:
		/* Do CPU LPS operations */
		ret = low_power_state_entry();
		break;
	case SYS_POWER_STATE_DEEP_SLEEP:
		/* Do Low Power Suspend operations */
		ret = low_power_suspend_entry();
		break;
	default:
		/* No PM operations */
		printk("\nNo PM operations done\n");
		ret = SYS_PM_NOT_HANDLED;
		break;
	}

	if (ret != SYS_PM_NOT_HANDLED) {
		/*
		 * Do any arch or soc specific post operations specific to the
		 * power state.
		 */
		if (!post_ops_done) {
			if ((pm_state == SYS_POWER_STATE_CPU_LPS_1) ||
					(pm_state == SYS_POWER_STATE_CPU_LPS)) {
				low_power_state_exit();
			}
			post_ops_done = 1;
			sys_power_state_post_ops(pm_state);
		}
	}

	return ret;
}

void sys_resume(void)
{
	/*
	 * This notification is called from the ISR of the event
	 * that caused exit from kernel idling after PM operations.
	 *
	 * Some CPU low power states require enabling of interrupts
	 * atomically when entering those states. The wake up from
	 * such a state first executes code in the ISR of the interrupt
	 * that caused the wake. This hook will be called from the ISR.
	 * For such CPU LPS states, do post operations and restores here.
	 * The kernel scheduler will get control after the ISR finishes
	 * and it may schedule another thread.
	 *
	 * Call sys_pm_idle_exit_notification_disable() if this
	 * notification is not required.
	 */
	if (!post_ops_done) {
		if (pm_state == SYS_POWER_STATE_CPU_LPS) {
			low_power_state_exit();
		}
		post_ops_done = 1;
		sys_power_state_post_ops(pm_state);
	}
}
```

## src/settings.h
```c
#define SLEEP_TIME 1000

#ifdef CONFIG_BOARD_NRF51_SIMBLEE
#define LED_PORT "GPIO_0"
#define LED_P    6
#define LED_N    4

#define BATTERY_EN_PORT "GPIO_0"
#define BATTERY_EN_PIN  17

#define ONEWIRE_PORT "GPIO_0"
#define ONEWIRE_PIN  14

#define DS18B20_EN_PORT "GPIO_0"
#define DS18B20_EN_PIN  13

#define SENSE_EN_PORT "GPIO_0"
#define SENSE_EN_PIN  7

#define SENSE_EXCITATION_PORT "GPIO_0"
#define SENSE_EXCITATION_PIN  10

#define SENSE_LOW_PIN   NRF_ADC_CONFIG_INPUT_3   //P0.02/AIN3
#define SENSE_HIGH_PIN  NRF_ADC_CONFIG_INPUT_4   //P0.03/AIN4

#define ADC_DEVICE_NAME         DT_ADC_0_NAME
#define ADC_RESOLUTION          10
#define ADC_GAIN                ADC_GAIN_1_3
#define ADC_REFERENCE           ADC_REF_INTERNAL
#define ADC_ACQUISITION_TIME    ADC_ACQ_TIME_DEFAULT
#define BATTERY_SENSE_PIN       NRF_ADC_CONFIG_INPUT_6  // P0.05/GPIO5/ANALOG6

#endif

#ifdef CONFIG_SOC_NRF52840_QIAA

#define BATTERY_EN_PORT "GPIO_1"
#define BATTERY_EN_PIN  2

#define ONEWIRE_PORT "GPIO_0"
#define ONEWIRE_PIN  29

#define DS18B20_EN_PORT "GPIO_0"
#define DS18B20_EN_PIN  31

#define SENSE_EN_PORT "GPIO_0"
#define SENSE_EN_PIN  26

#define SENSE_EXCITATION_PORT "GPIO_0"
#define SENSE_EXCITATION_PIN  8

#define SENSE_LOW_PIN   2 // NRF_ADC_CONFIG_INPUT_2   //P0.04/AIN2
#define SENSE_HIGH_PIN  3 // NRF_ADC_CONFIG_INPUT_3   //P0.05/AIN3

#define ADC_DEVICE_NAME         "ADC_0"
#define ADC_RESOLUTION          10
#define ADC_GAIN                ADC_GAIN_1_3
#define ADC_REFERENCE           ADC_REF_INTERNAL
#define ADC_ACQUISITION_TIME    ADC_ACQ_TIME_DEFAULT
#define BATTERY_SENSE_PIN       0 // NRF_ADC_CONFIG_INPUT_0  // P0.02/AIN0

#endif
```
